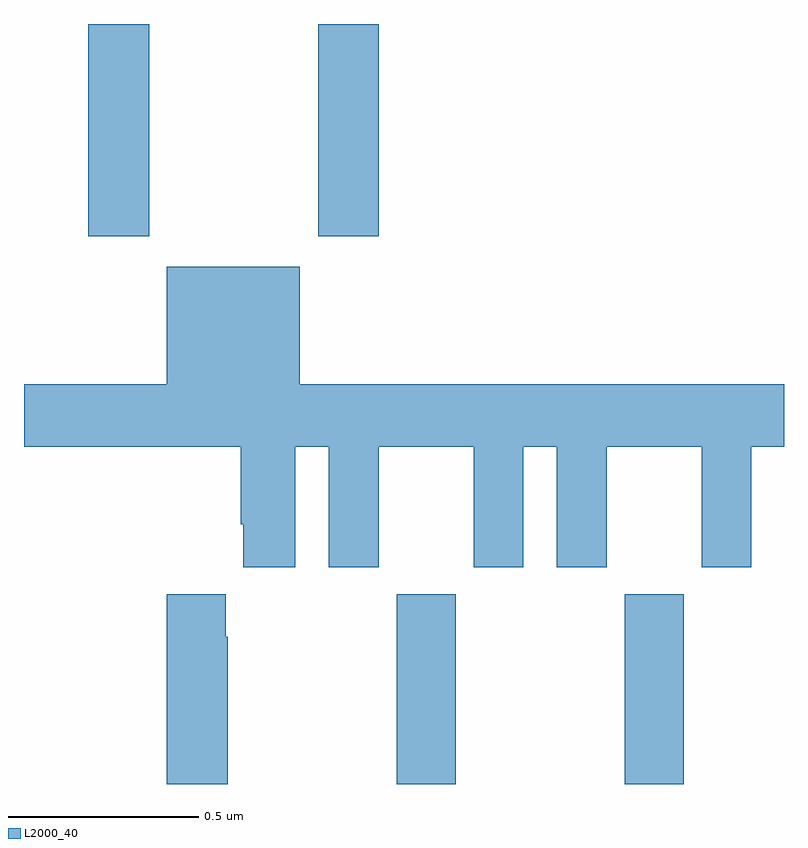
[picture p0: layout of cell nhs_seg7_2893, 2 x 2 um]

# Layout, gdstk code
import gdstk
lib = gdstk.Library(unit=1e-6, precision=1e-09)
def R(c, l, rs):  # rectangles x0, y0, x1, y1
    for r in rs: c.add(gdstk.rectangle(r[:2], r[2:], *l))
def P(c, l, *ps):  # polygons
    for p in ps: c.add(gdstk.Polygon(p, *l))
L2000_40 = (2000, 40)

nhs_seg7_2893 = lib.new_cell('nhs_seg7_2893')
R(nhs_seg7_2893, L2000_40, [(151.981,1061,152.136,1061.5), (152.581,1061,152.736,1061.5), (151.169,1062.441,151.329,1063), (151.774,1062.441,151.934,1063)])
P(nhs_seg7_2893, L2000_40, [(151.714,1061.888),(151.802,1061.888),(151.802,1061.571),(151.933,1061.571),(151.933,1061.888),(152.183,1061.888),(152.183,1061.571),(152.314,1061.571),(152.314,1061.888),(152.402,1061.888),(152.402,1061.571),(152.533,1061.571),(152.533,1061.888),(152.783,1061.888),(152.783,1061.571),(152.914,1061.571),(152.914,1061.888),(153,1061.888),(153,1062.052),(151.726,1062.052),(151.726,1062.361),(151.376,1062.361),(151.376,1062.052),(151,1062.052),(151,1061.888),(151.571,1061.888),(151.571,1061.683),(151.577,1061.683),(151.577,1061.571),(151.714,1061.571)],
  [(151.536,1061.387),(151.531,1061.387),(151.531,1061.5),(151.376,1061.5),(151.376,1061),(151.536,1061)])

lib.write_gds('nhs_seg7_2893.gds')
